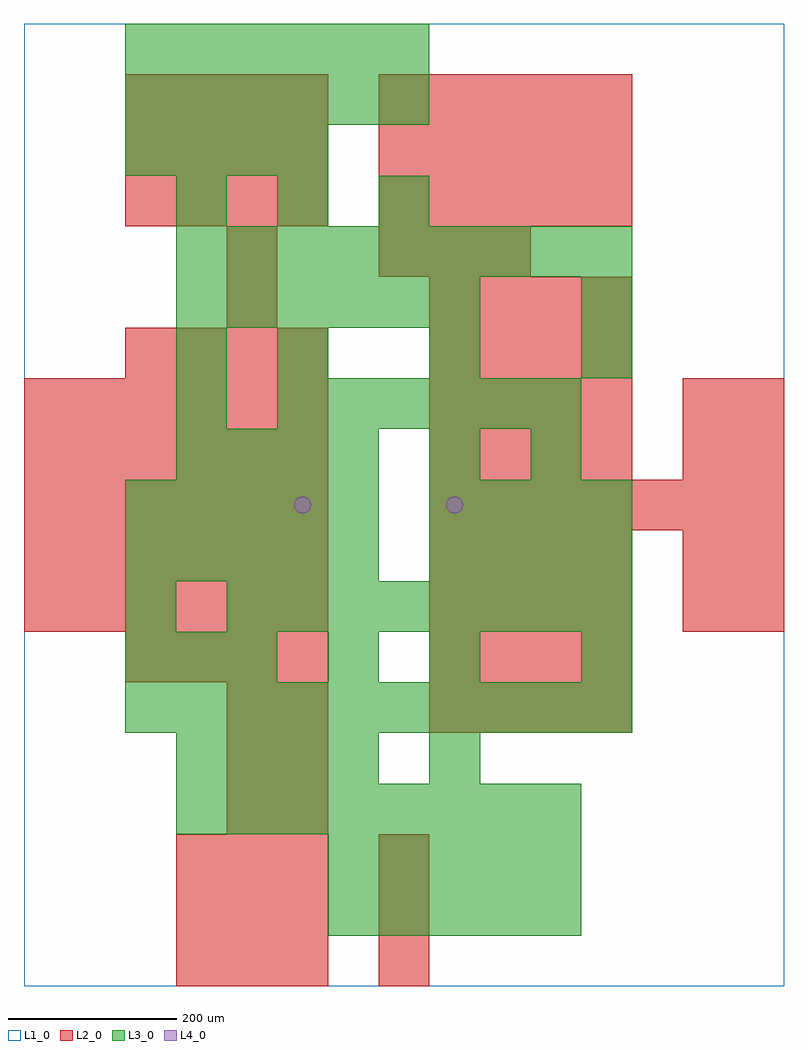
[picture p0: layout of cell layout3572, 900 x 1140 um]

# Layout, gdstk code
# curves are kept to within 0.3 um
import gdstk
lib = gdstk.Library(unit=1e-6, precision=1e-09)
def R(c, l, rs):  # rectangles x0, y0, x1, y1
    for r in rs: c.add(gdstk.rectangle(r[:2], r[2:], *l))
def A(c, l, x, y, w, h, nx, ny, dx, dy):  # array of equal rectangles
    R(c, l, [(x+i*dx, y+j*dy, x+i*dx+w, y+j*dy+h) for i in range(nx) for j in range(ny)])
def P(c, l, *ps):  # polygons
    for p in ps: c.add(gdstk.Polygon(p, *l))
L1_0 = (1, 0)
L2_0 = (2, 0)
L3_0 = (3, 0)
L4_0 = (4, 0)

layout3572 = lib.new_cell('layout3572')
R(layout3572, L1_0, [(0,0,900,1140)])
A(layout3572, L2_0, 180, 0, 60, 60, 3, 3, 60, 60)
A(layout3572, L2_0, 420, 0, 60, 60, 1, 3, 0, 60)
A(layout3572, L2_0, 240, 180, 60, 60, 1, 3, 0, 60)
A(layout3572, L2_0, 300, 180, 60, 60, 1, 3, 0, 60)
A(layout3572, L2_0, 480, 300, 60, 60, 4, 4, 60, 60)
A(layout3572, L2_0, 120, 360, 60, 60, 4, 2, 60, 360)
A(layout3572, L2_0, 0, 420, 60, 60, 6, 5, 60, 60)
A(layout3572, L2_0, 480, 540, 60, 60, 7, 1, 60, 0)
A(layout3572, L2_0, 480, 600, 60, 60, 4, 4, 60, 60)
A(layout3572, L2_0, 420, 840, 60, 60, 3, 1, 60, 0)
A(layout3572, L2_0, 120, 900, 60, 60, 4, 3, 60, 60)
A(layout3572, L2_0, 420, 900, 60, 60, 5, 3, 60, 60)
R(layout3572, L2_0, [(780,420,840,480), (840,420,900,480), (780,480,840,540), (840,480,900,540), (780,600,840,660), (840,600,900,660), (780,660,840,720), (840,660,900,720), (240,780,300,840), (240,840,300,900)])
A(layout3572, L3_0, 360, 60, 60, 60, 5, 2, 60, 60)
A(layout3572, L3_0, 180, 180, 60, 60, 8, 1, 60, 0)
A(layout3572, L3_0, 180, 240, 60, 60, 4, 2, 60, 360)
A(layout3572, L3_0, 120, 300, 60, 60, 10, 1, 60, 0)
A(layout3572, L3_0, 120, 360, 60, 60, 3, 1, 60, 0)
A(layout3572, L3_0, 240, 420, 60, 60, 8, 1, 60, 0)
A(layout3572, L3_0, 120, 480, 60, 60, 5, 2, 60, 60)
A(layout3572, L3_0, 480, 480, 60, 60, 4, 2, 60, 60)
A(layout3572, L3_0, 300, 660, 60, 60, 6, 1, 60, 0)
A(layout3572, L3_0, 300, 720, 60, 60, 3, 1, 180, 0)
A(layout3572, L3_0, 180, 780, 60, 60, 6, 1, 60, 0)
A(layout3572, L3_0, 180, 840, 60, 60, 9, 1, 60, 0)
A(layout3572, L3_0, 180, 900, 60, 60, 3, 1, 120, 0)
A(layout3572, L3_0, 120, 960, 60, 60, 4, 1, 60, 0)
A(layout3572, L3_0, 120, 1020, 60, 60, 6, 2, 60, 60)
R(layout3572, L3_0, [(480,240,540,300), (360,360,420,420), (480,360,540,420), (660,360,720,420), (120,420,180,480), (480,600,540,660), (600,600,660,660), (180,660,240,720), (180,720,240,780), (660,780,720,840)])
P(layout3572, L4_0, [(340,570),(339.239,573.827),(337.071,577.071),(333.827,579.239),(330,580),(326.173,579.239),(322.929,577.071),(320.761,573.827),(320,570),(320.761,566.173),(322.929,562.929),(326.173,560.761),(330,560),(333.827,560.761),(337.071,562.929),(339.239,566.173)],
  [(520,570),(519.239,573.827),(517.071,577.071),(513.827,579.239),(510,580),(506.173,579.239),(502.929,577.071),(500.761,573.827),(500,570),(500.761,566.173),(502.929,562.929),(506.173,560.761),(510,560),(513.827,560.761),(517.071,562.929),(519.239,566.173)])

lib.write_gds('layout3572.gds')
